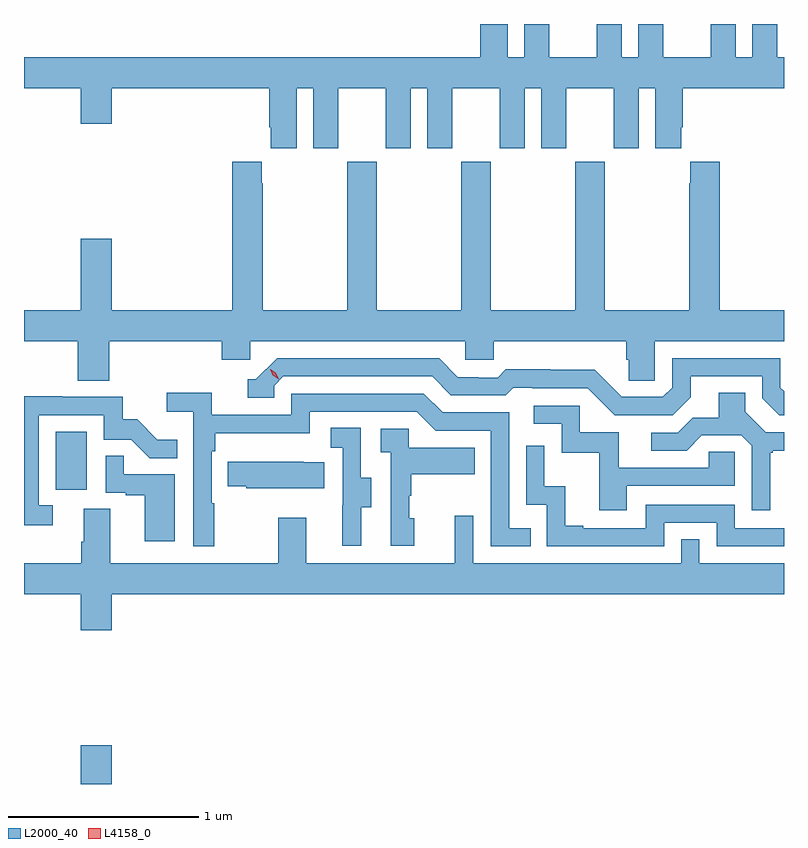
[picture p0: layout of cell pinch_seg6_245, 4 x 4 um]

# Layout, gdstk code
import gdstk
lib = gdstk.Library(unit=1e-6, precision=1e-09)
def R(c, l, rs):  # rectangles x0, y0, x1, y1
    for r in rs: c.add(gdstk.rectangle(r[:2], r[2:], *l))
def P(c, l, *ps):  # polygons
    for p in ps: c.add(gdstk.Polygon(p, *l))
L2000_40 = (2000, 40)
L4158_0 = (4158, 0)

pinch_seg6_245 = lib.new_cell('pinch_seg6_245')
R(pinch_seg6_245, L2000_40, [(1142.03,919.698,1142.194,919.903), (1141.898,921.246,1142.062,921.553)])
P(pinch_seg6_245, L2000_40, [(1143.166,923.36),(1143.254,923.36),(1143.254,923.043),(1143.385,923.043),(1143.385,923.36),(1143.635,923.36),(1143.635,923.043),(1143.766,923.043),(1143.766,923.36),(1143.854,923.36),(1143.854,923.043),(1143.985,923.043),(1143.985,923.36),(1144.235,923.36),(1144.235,923.043),(1144.366,923.043),(1144.366,923.36),(1144.454,923.36),(1144.454,923.043),(1144.585,923.043),(1144.585,923.36),(1144.835,923.36),(1144.835,923.043),(1144.966,923.043),(1144.966,923.36),(1145.054,923.36),(1145.054,923.043),(1145.191,923.043),(1145.191,923.155),(1145.198,923.155),(1145.198,923.36),(1145.731,923.36),(1145.731,923.524),(1145.695,923.524),(1145.695,923.698),(1145.564,923.698),(1145.564,923.524),(1145.476,923.524),(1145.476,923.698),(1145.345,923.698),(1145.345,923.524),(1145.095,923.524),(1145.095,923.698),(1144.964,923.698),(1144.964,923.524),(1144.876,923.524),(1144.876,923.698),(1144.745,923.698),(1144.745,923.524),(1144.495,923.524),(1144.495,923.698),(1144.364,923.698),(1144.364,923.524),(1144.276,923.524),(1144.276,923.698),(1144.133,923.698),(1144.133,923.524),(1141.731,923.524),(1141.731,923.36),(1142.03,923.36),(1142.03,923.172),(1142.194,923.172),(1142.194,923.36),(1143.023,923.36),(1143.023,923.155),(1143.029,923.155),(1143.029,923.043),(1143.166,923.043)],
  [(1142.18,922.028),(1142.771,922.028),(1142.771,921.93),(1142.922,921.93),(1142.922,922.028),(1144.053,922.028),(1144.053,921.93),(1144.203,921.93),(1144.203,922.028),(1144.901,922.028),(1144.901,921.93),(1144.915,921.93),(1144.915,921.82),(1145.052,921.82),(1145.052,922.028),(1145.731,922.028),(1145.731,922.192),(1145.393,922.192),(1145.393,922.972),(1145.237,922.972),(1145.237,922.859),(1145.233,922.859),(1145.233,922.192),(1144.788,922.192),(1144.788,922.972),(1144.633,922.972),(1144.633,922.192),(1144.188,922.192),(1144.188,922.972),(1144.033,922.972),(1144.033,922.192),(1143.588,922.192),(1143.588,922.972),(1143.433,922.972),(1143.433,922.192),(1142.988,922.192),(1142.988,922.859),(1142.983,922.859),(1142.983,922.972),(1142.828,922.972),(1142.828,922.192),(1142.194,922.192),(1142.194,922.567),(1142.03,922.567),(1142.03,922.192),(1141.731,922.192),(1141.731,922.028),(1142.015,922.028),(1142.015,921.82),(1142.18,921.82)],
  [(1145.239,921.733),(1145.239,921.843),(1145.616,921.843),(1145.616,921.729),(1145.706,921.639),(1145.731,921.639),(1145.731,921.764),(1145.712,921.783),(1145.712,921.939),(1145.142,921.939),(1145.142,921.783),(1145.094,921.735),(1144.878,921.735),(1144.736,921.877),(1144.5,921.877),(1144.5,921.88),(1144.267,921.88),(1144.225,921.837),(1144.122,921.837),(1144.122,921.84),(1144.015,921.84),(1143.916,921.939),(1143.063,921.939),(1142.952,921.828),(1142.909,921.828),(1142.909,921.732),(1143.048,921.732),(1143.048,921.795),(1143.096,921.843),(1143.879,921.843),(1143.978,921.744),(1144.267,921.744),(1144.306,921.783),(1144.405,921.783),(1144.405,921.78),(1144.698,921.78),(1144.839,921.639),(1145.145,921.639)],
  [(1145.659,921.441),(1145.671,921.441),(1145.671,921.452),(1145.731,921.452),(1145.731,921.549),(1145.634,921.549),(1145.527,921.656),(1145.527,921.758),(1145.387,921.758),(1145.387,921.626),(1145.252,921.626),(1145.172,921.546),(1145.031,921.546),(1145.031,921.453),(1145.218,921.453),(1145.299,921.534),(1145.505,921.534),(1145.562,921.477),(1145.562,921.138),(1145.659,921.138)],
  [(1142.731,921.176),(1142.718,921.176),(1142.718,921.449),(1142.738,921.449),(1142.738,921.545),(1143.234,921.545),(1143.234,921.657),(1143.798,921.657),(1143.897,921.558),(1144.188,921.558),(1144.188,920.949),(1144.397,920.949),(1144.397,921.045),(1144.284,921.045),(1144.284,921.654),(1143.934,921.654),(1143.835,921.753),(1143.138,921.753),(1143.138,921.642),(1142.72,921.642),(1142.72,921.758),(1142.481,921.758),(1142.481,921.656),(1142.622,921.656),(1142.622,920.949),(1142.731,920.949)],
  [(1141.882,921.165),(1141.809,921.165),(1141.809,921.639),(1142.151,921.639),(1142.151,921.51),(1142.295,921.51),(1142.393,921.412),(1142.537,921.412),(1142.537,921.511),(1142.433,921.511),(1142.326,921.618),(1142.25,921.618),(1142.25,921.735),(1141.931,921.735),(1141.931,921.74),(1141.731,921.74),(1141.731,921.06),(1141.882,921.06)],
  [(1144.903,921.267),(1145.472,921.267),(1145.472,921.447),(1145.335,921.447),(1145.335,921.363),(1144.861,921.363),(1144.861,921.549),(1144.656,921.549),(1144.656,921.69),(1144.413,921.69),(1144.413,921.594),(1144.56,921.594),(1144.56,921.441),(1144.759,921.441),(1144.759,921.138),(1144.903,921.138)],
  [(1143.505,921.154),(1143.559,921.154),(1143.559,921.309),(1143.504,921.309),(1143.504,921.572),(1143.345,921.572),(1143.345,921.469),(1143.408,921.469),(1143.408,921.165),(1143.407,921.165),(1143.407,920.952),(1143.505,920.952)],
  [(1143.784,921.096),(1143.759,921.096),(1143.759,921.215),(1143.769,921.215),(1143.769,921.329),(1144.103,921.329),(1144.103,921.469),(1143.756,921.469),(1143.756,921.567),(1143.609,921.567),(1143.609,921.443),(1143.66,921.443),(1143.66,920.952),(1143.784,920.952)],
  [(1145.1,921.072),(1145.376,921.072),(1145.376,920.949),(1145.731,920.949),(1145.731,921.045),(1145.472,921.045),(1145.472,921.168),(1145.004,921.168),(1145.004,921.045),(1144.675,921.045),(1144.675,921.058),(1144.58,921.058),(1144.58,921.266),(1144.47,921.266),(1144.47,921.478),(1144.374,921.478),(1144.374,921.168),(1144.482,921.168),(1144.482,920.949),(1145.1,920.949)],
  [(1142.524,921.327),(1142.255,921.327),(1142.255,921.425),(1142.16,921.425),(1142.16,921.231),(1142.267,921.231),(1142.267,921.219),(1142.366,921.219),(1142.366,920.976),(1142.524,920.976)],
  [(1143.311,921.391),(1143.203,921.391),(1143.203,921.394),(1142.803,921.394),(1142.803,921.265),(1142.901,921.265),(1142.901,921.254),(1143.311,921.254)],
  [(1142.194,920.696),(1145.731,920.696),(1145.731,920.86),(1145.286,920.86),(1145.286,920.987),(1145.19,920.987),(1145.19,920.86),(1144.095,920.86),(1144.095,921.109),(1143.998,921.109),(1143.998,920.86),(1143.217,920.86),(1143.217,921.1),(1143.07,921.1),(1143.07,920.86),(1142.185,920.86),(1142.185,921.146),(1142.045,921.146),(1142.045,920.972),(1142.033,920.972),(1142.033,920.86),(1141.731,920.86),(1141.731,920.696),(1142.03,920.696),(1142.03,920.508),(1142.194,920.508)])
P(pinch_seg6_245, L4158_0, [(1143.072,921.829),(1143.041,921.849),(1143.026,921.882),(1143.026,921.882),(1143.026,921.882),(1143.056,921.862),(1143.072,921.83),(1143.072,921.829)])

lib.write_gds('pinch_seg6_245.gds')
